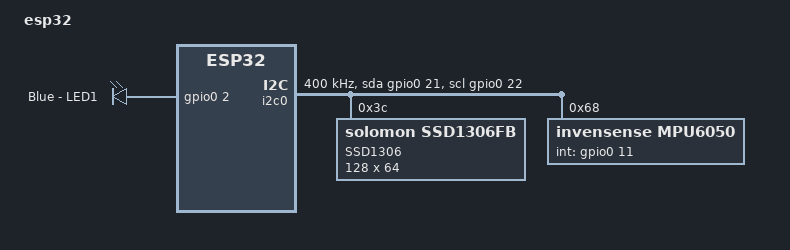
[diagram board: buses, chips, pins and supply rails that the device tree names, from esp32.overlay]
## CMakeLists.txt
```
cmake_minimum_required(VERSION 3.20.0)

set(BOARD esp32)
find_package(Zephyr)
project(my_application)

target_sources(app PRIVATE 
  src/main.c
  src/DisplayThread.c
  src/AccelThread.c
  include/DisplayThread.h
  include/AccelThread.h
  )

target_include_directories(app PRIVATE include)
```

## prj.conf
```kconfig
CONFIG_HEAP_MEM_POOL_SIZE=256
CONFIG_ASSERT=y
CONFIG_GPIO=y
CONFIG_SENSOR=y
CONFIG_MPU6050=y
CONFIG_MPU6050_TRIGGER_NONE=y
CONFIG_CBPRINTF_FP_SUPPORT=y
CONFIG_MAIN_STACK_SIZE=2048
CONFIG_I2C=y
CONFIG_DISPLAY=y
CONFIG_DISPLAY_LOG_LEVEL_ERR=y

CONFIG_LOG=y

CONFIG_LVGL=y
CONFIG_HEAP_MEM_POOL_SIZE=6144
CONFIG_APP_LINK_WITH_LVGL=y
CONFIG_LV_MEM_SIZE_KILOBYTES=8
CONFIG_LV_MEM_CUSTOM=n
CONFIG_LV_USE_LOG=y
CONFIG_LV_USE_LABEL=y
CONFIG_LV_USE_BTN=y
CONFIG_LV_USE_IMG=y
CONFIG_LV_COLOR_DEPTH_1=y
CONFIG_LV_CONF_MINIMAL=y
CONFIG_LV_FONT_MONTSERRAT_8=y
CONFIG_LV_COLOR_16_SWAP=y

CONFIG_SSD1306=y
CONFIG_SSD1306_DEFAULT=y

CONFIG_LV_USE_THEME_DEFAULT=y
CONFIG_LV_Z_VDB_SIZE=64


#CONFIG_LVGL_HOR_RES_MAX=128
#CONFIG_LVGL_VER_RES_MAX=64
#CONFIG_LVGL_VDB_SIZE=50
#CONFIG_LVGL_BITS_PER_PIXEL=1

#CONFIG_LVGL_USE_DEBUG=y
#CONFIG_LVGL_COLOR_DEPTH_1=y
#CONFIG_LVGL_COLOR_TRANSP_GREEN=y
#CONFIG_LVGL_DISP_DEF_REFR_PERIOD=30
#CONFIG_LVGL_DISP_SMALL_LIMIT=30
#CONFIG_LVGL_DISP_MEDIUM_LIMIT=50
#CONFIG_LVGL_DISP_LARGE_LIMIT=70
#ONFIG_LVGL_MEM_POOL_HEAP_KERNEL=y
#CONFIG_LVGL_BUFFER_ALLOC_STATIC=y
# CONFIG_LVGL_INDEV_DEF_READ_PERIOD=50
# CONFIG_LVGL_INDEV_DEF_DRAG_LIMIT=10
# CONFIG_LVGL_INDEV_DEF_DRAG_THROW=20
# CONFIG_LVGL_INDEV_DEF_LONG_PRESS_TIME=400
# CONFIG_LVGL_INDEV_DEF_LONG_PRESS_REP_TIME=100
# CONFIG_LVGL_INDEV_DEF_GESTURE_LIMIT=50
#CONFIG_LVGL_INDEV_DEF_GESTURE_MIN_VELOCITY=3
# CONFIG_LVGL_IMG_CF_INDEXED=y
# CONFIG_LVGL_IMG_CF_ALPHA=y
# CONFIG_LVGL_IMG_CACHE_DEF_SIZE=1

#CONFIG_LVGL_USE_THEME_MONO=y
```

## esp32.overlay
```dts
/*
 * Copyright (c) 2023 Espressif Systems (Shanghai) Co., Ltd.
 *
 * SPDX-License-Identifier: Apache-2.0
 */

/ {
	model = "esp32";
	compatible = "espressif,esp32";

	aliases {
		i2c-0 = &i2c0;
		led0 = &led0;
	};

	chosen {
		zephyr,sram = &sram0;
		zephyr,console = &uart0;
		zephyr,shell-uart = &uart0;
		zephyr,flash = &flash0;
		zephyr,display = &ssd1306;
		
	};

	leds {
		compatible = "gpio-leds";
		led0: led_0 {
			gpios =  <&gpio0 2 GPIO_ACTIVE_HIGH>;
			label = "Blue - LED1";
		};
	};
};

&i2c0 {
	status = "okay";
	clock-frequency = <I2C_BITRATE_FAST>;
	sda-gpios = <&gpio0 21 (GPIO_OPEN_DRAIN  )>;
	scl-gpios = <&gpio0 22 (GPIO_OPEN_DRAIN  )>;
	pinctrl-0 = <&i2c0_default>;
	pinctrl-names = "default";
	ssd1306: ssd1306@3c {
		compatible = "solomon,ssd1306fb";
		reg = < 0x3c >;
		label = "SSD1306";
		width = < 128 >;
		height = < 64 >;
		segment-offset = < 0x0 >;
		page-offset = < 0x0 >;
		display-offset = < 0x0 >;
		multiplex-ratio = < 0x3f >;
		segment-remap;
		com-invdir;
		prechargep = < 0x22 >;
	};
	mpu6050@68 {
	compatible = "invensense,mpu6050";
	reg = <0x68>;
	status = "okay";
	int-gpios = <&gpio0 11 GPIO_ACTIVE_HIGH>;
	};	
};
```

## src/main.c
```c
/**
 * @file main.c
 * @author Guilherme Freire (freireg1503@gmail.com)
 * @brief 
 * @version 0.1
 * @date 2022-08-22
 * 
 * @copyright Copyright (c) 2022
 * 
 */

#include "DisplayThread.h"
// #include <zephyr/drivers/gpio.h>
#include "AccelThread.h"

#define STACK_SIZE 	2048 
#define PRIORITY		0

K_THREAD_DEFINE(
	AccelHandler, STACK_SIZE,
	AccelThread, NULL, NULL, NULL,
	PRIORITY, 0, 0);

K_THREAD_DEFINE(
	DisplayHandler, STACK_SIZE,
	DisplayThread, NULL, NULL, NULL,
	PRIORITY, 0, 0);
```

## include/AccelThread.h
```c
/**
 * @file AccelThread.h
 * @author Guilherme Freire (guilherme.freire@fieb.org.br)
 * @brief 
 * @version 0.1
 * @date 2023-06-01
 * 
 * @copyright Copyright (c) 2023
 * 
 */
#ifndef _ACCEL_THREAD_H_
#define _ACCEL_THREAD_H_

#include <zephyr/kernel.h>
#include <zephyr/device.h>
#include <zephyr/drivers/gpio.h>
#include <stdio.h>
#include <string.h>

void AccelThread(void *p1, void *p2, void *p3);

#endif
```

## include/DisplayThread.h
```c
/**
 * @file DisplayThread.h
 * @author Guilherme Freire (guilherme.freire@fieb.org.br)
 * @brief 
 * @version 0.1
 * @date 2023-06-01
 * 
 * @copyright Copyright (c) 2023
 * 
 */

#ifndef _DISPLAY_THREAD_H_
#define _DISPLAY_THREAD_H_

#include <zephyr/kernel.h>
#include <zephyr/device.h>
#include <zephyr/drivers/display.h>
#include <lvgl.h>
#include <stdio.h>
#include <string.h>

void DisplayThread(void *p1, void *p2, void *p3);

#endif
```

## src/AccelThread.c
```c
/**
 * @file AccelThread.c
 * @author Guilherme Freire (guilherme.freire@fieb.org.br)
 * @brief 
 * @version 0.1
 * @date 2023-06-01
 * 
 * @copyright Copyright (c) 2023
 * 
 */
#include "AccelThread.h"

#define LED0_NODE DT_ALIAS(led0)

static const struct gpio_dt_spec led = GPIO_DT_SPEC_GET(LED0_NODE, gpios);

void AccelThread(void *p1, void *p2, void *p3)
{
  /* Initialization of the Thread */
	// printk("Starting Accel Thread\n");
	int ret;
	if(!gpio_is_ready_dt(&led))
		printf("Could not start led port\n");

	ret = gpio_pin_configure_dt(&led, GPIO_OUTPUT_ACTIVE);
	if(ret != 0)
		printf("Could not configure led port\n");
	// 	return;
	while(1)
	{
		ret = gpio_pin_toggle_dt(&led); //The use of the spec quickens the writing?
		if(ret != 0)
			printf("Could not toggle led port\n");

		printf("Current process: %d\n", (int *)k_current_get());
		k_msleep(250);
	}
}
```

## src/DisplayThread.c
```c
/**
 * @file DisplayThread.c
 * @author Guilherme Freire (guilherme.freire@fieb.org.br)
 * @brief 
 * @version 0.1
 * @date 2023-06-01
 * 
 * @copyright Copyright (c) 2023
 * 
 */

#include "DisplayThread.h"


const struct device *display_dev = DEVICE_DT_GET(DT_CHOSEN(zephyr_display));


void DisplayThread(void *p1, void *p2, void *p3)
{
  /* Initialization of the Thread */
  static lv_style_t style;
  lv_obj_t *hello_world_label;
  lv_obj_t *readings_label;
  char count_str[50] = {0};
	int counter = 0;

	if (!device_is_ready(display_dev)) {
		printf("Device %s is not ready\n", display_dev->name);
		return;
	}

  if (IS_ENABLED(CONFIG_LV_Z_POINTER_KSCAN)) {
		lv_obj_t *hello_world_button;

		hello_world_button = lv_btn_create(lv_scr_act());
		lv_obj_align(hello_world_button, LV_ALIGN_CENTER, 0, 0);
		hello_world_label = lv_label_create(hello_world_button);
	} 
	else {
		hello_world_label = lv_label_create(lv_scr_act());
	}

	lv_style_init(&style);
	lv_style_set_bg_color(&style, lv_color_black());
	// lv_style_set_text_color(&style, lv_color_white());
	lv_style_set_text_decor(&style, LV_TEXT_DECOR_NONE);

	lv_label_set_text(hello_world_label, "Accel Readings");
	lv_obj_align(hello_world_label, LV_ALIGN_BOTTOM_MID, 0, 0);

	readings_label = lv_label_create(lv_scr_act());
	lv_obj_add_style(readings_label, &style, 0);
	lv_label_set_text(readings_label, "Running Zephyr!");
	lv_obj_align(readings_label, LV_ALIGN_CENTER, 0, 0);

	lv_task_handler();
  
  while(1)
  {	
		sprintf(count_str, "%d", counter);
    lv_label_set_text(hello_world_label, count_str);
		lv_task_handler();
		counter++;
		k_msleep(1000);
  }
}
```
